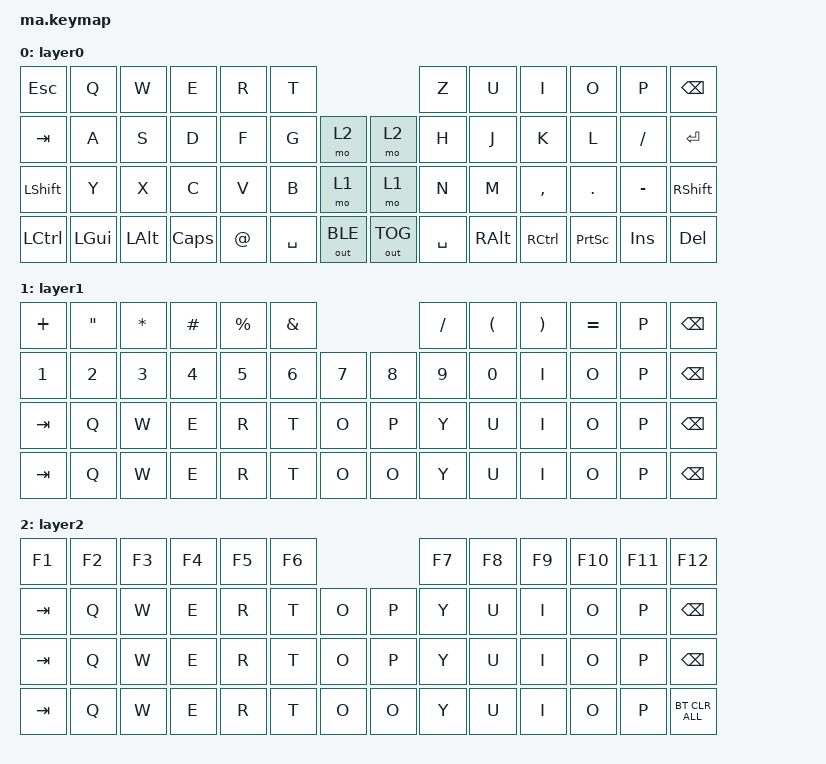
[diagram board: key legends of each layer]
/*
 * Copyright (c) 2020 The ZMK Contributors
 *
 * SPDX-License-Identifier: MIT
 */

#include <behaviors.dtsi>
#include <dt-bindings/zmk/keys.h>
#include <dt-bindings/zmk/bt.h>
#include <dt-bindings/zmk/outputs.h>

/ {
        keymap {
                compatible = "zmk,keymap";

                layer0 {

                        bindings = <
        &kp ESC     &kp Q     &kp W     &kp E     &kp R     &kp T                       &kp Z      &kp U      &kp I       &kp O       &kp P       &kp BSPC
        &kp TAB     &kp A     &kp S     &kp D     &kp F     &kp G     &mo 2    &mo 2    &kp H      &kp J       &kp K       &kp L       &kp SLASH   &kp ENTER
        &kp LSHFT   &kp Y     &kp X     &kp C     &kp V     &kp B     &mo 1    &mo 1    &kp N      &kp M       &kp COMMA   &kp DOT     &kp MINUS   &kp RSHFT
        &kp LCTRL   &kp LGUI  &kp LALT  &kp CAPS  &kp AT    &kp SPACE &out OUT_BLE &out OUT_TOG &kp SPACE &kp RALT &kp RCTRL &kp PSCRN &kp INS &kp DEL
                        >;
                };

                layer1 {

                        bindings = <
        &kp PLUS &kp DQT &kp STAR &kp HASH &kp PRCNT &kp AMPS                 &kp SLASH &kp LPAR  &kp RPAR   &kp EQUAL   &kp P    &kp BSPC
        &kp N1   &kp N2 &kp N3 &kp N4 &kp N5 &kp N6 &kp N7    &kp N8  &kp N9 &kp N0  &kp I   &kp O   &kp P    &kp BSPC
        &kp TAB  &kp Q &kp W &kp E &kp R &kp T &kp O         &kp P  &kp Y &kp U  &kp I   &kp O   &kp P    &kp BSPC
        &kp TAB  &kp Q &kp W &kp E &kp R &kp T &kp O         &kp O  &kp Y &kp U  &kp I   &kp O   &kp P    &kp BSPC

                        >;
                };
                layer2 {

                        bindings = <
        &kp F1    &kp F2 &kp F3 &kp F4 &kp F5 &kp F6                 &kp F7 &kp F8  &kp F9   &kp F10   &kp F11    &kp F12
        &kp TAB   &kp Q  &kp W  &kp E  &kp R  &kp T  &kp O    &kp P  &kp Y  &kp U   &kp I    &kp O     &kp P      &kp BSPC
        &kp TAB   &kp Q  &kp W  &kp E  &kp R  &kp T  &kp O    &kp P  &kp Y  &kp U   &kp I    &kp O     &kp P      &kp BSPC
        &kp TAB   &kp Q  &kp W  &kp E  &kp R  &kp T  &kp O    &kp O  &kp Y  &kp U   &kp I    &kp O     &kp P      &bt BT_CLR_ALL

                        >;
                };
               
        };
};
